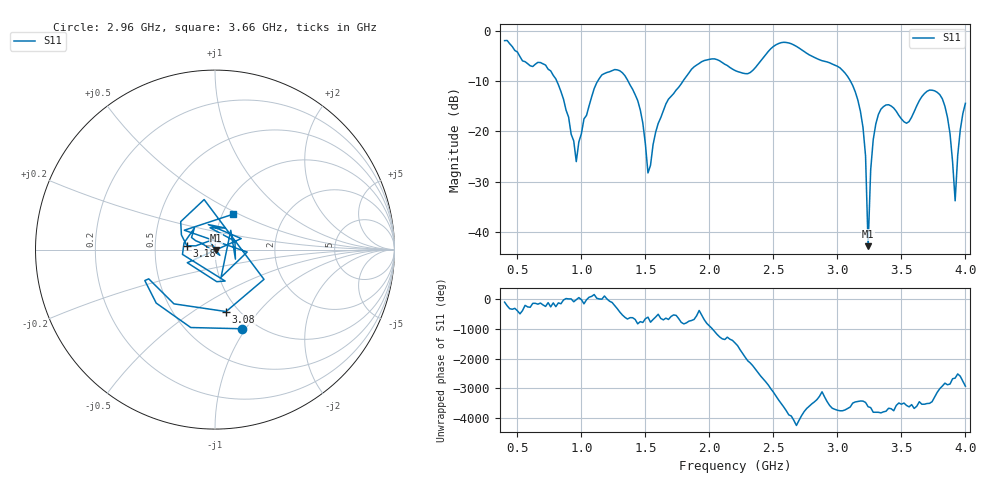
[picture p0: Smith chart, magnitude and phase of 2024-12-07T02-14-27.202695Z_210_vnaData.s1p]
!Created with skrf (http://scikit-rf.org).
# Hz S RI R 50.0
!freq ReS11 ImS11
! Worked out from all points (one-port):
!   181 points, 400 MHz to 4 GHz, reference 50 ohm
!   lowest |S11| = -42.7 dB at 3.24 GHz (marker M1), VSWR 1.01, Z = 50.7 - j0.253 ohm
!   |S11| at or under -10 dB: 807.4 MHz to 1.128 GHz (320.4 MHz wide, 33.1 % of centre); 1.364 GHz to 1.794 GHz (430.1 MHz wide, 27.2 % of centre); 3.102 GHz to end of sweep
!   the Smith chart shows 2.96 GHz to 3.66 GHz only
!   S11 on the Smith chart (normalised r, x): 2.96 GHz: 0.85, -0.96; 3.08 GHz: 0.88, -0.69; 3.18 GHz: 0.73, +0.03; 3.66 GHz: 1.12, +0.47
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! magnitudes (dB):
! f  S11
! 400 MHz  -2.0
! 720 MHz  -6.8
! 860 MHz  -13.6
! 960 MHz  -26.0
! 1.12 GHz  -10.3
! 1.3 GHz  -8.0
! 1.44 GHz  -13.9
! 1.52 GHz  -28.2
! 1.6 GHz  -18.4
! 1.76 GHz  -11.2
! 1.96 GHz  -5.9
! 2.2 GHz  -7.9
! 2.66 GHz  -2.9
! 2.96 GHz  -6.6
! 3.08 GHz  -9.1
! 3.1 GHz  -9.9
! 3.18 GHz  -16.0
! 3.22 GHz  -24.8
! 3.24 GHz  -42.7
! 3.26 GHz  -27.6
! 3.32 GHz  -16.6
! 3.56 GHz  -18.0
! 3.66 GHz  -13.1
! 3.84 GHz  -15.0
! 3.88 GHz  -20.5
! 3.92 GHz  -33.7
! 3.96 GHz  -19.7
! 4 GHz  -14.4
